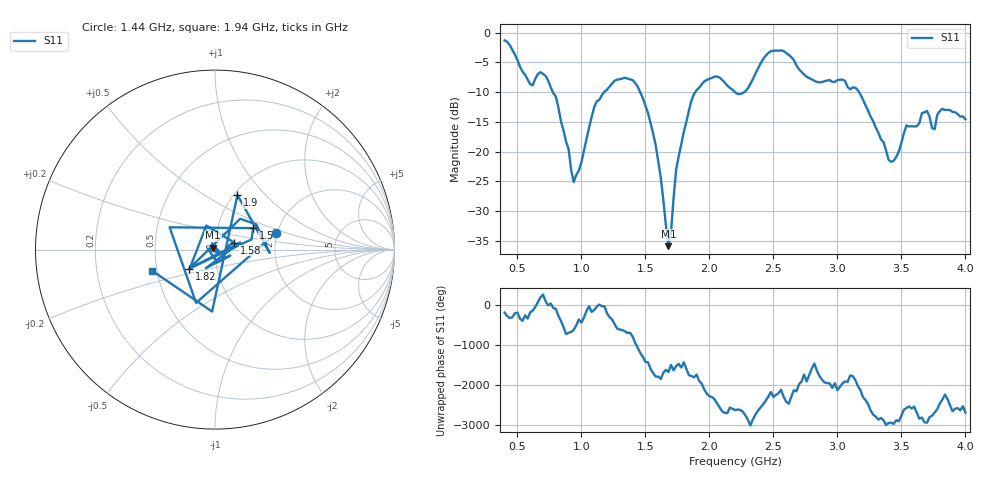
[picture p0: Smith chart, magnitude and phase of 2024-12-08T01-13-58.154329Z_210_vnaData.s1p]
!Created with skrf (http://scikit-rf.org).
# Hz S RI R 50.0
!freq ReS11 ImS11
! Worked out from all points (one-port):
!   181 points, 400 MHz to 4 GHz, reference 50 ohm
!   lowest |S11| = -35.9 dB at 1.68 GHz (marker M1), VSWR 1.03, Z = 48.9 + j1.11 ohm
!   |S11| at or under -10 dB: 776.9 MHz to 1.177 GHz (400.5 MHz wide, 41 % of centre); 1.459 GHz to 1.89 GHz (430.3 MHz wide, 25.7 % of centre); 3.169 GHz to end of sweep (the widest 3 of 4)
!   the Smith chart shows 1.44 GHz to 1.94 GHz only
!   S11 on the Smith chart (normalised r, x): 1.44 GHz: 1.97, +0.42; 1.5 GHz: 1.48, +0.38; 1.58 GHz: 1.24, +0.10; 1.82 GHz: 0.73, -0.16; 1.9 GHz: 1.04, +0.71; 1.94 GHz: 0.47, -0.13
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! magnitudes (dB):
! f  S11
! 400 MHz  -1.3
! 600 MHz  -8.7
! 720 MHz  -7.3
! 860 MHz  -16.4
! 940 MHz  -25.1
! 1.1 GHz  -12.5
! 1.3 GHz  -7.8
! 1.44 GHz  -9.1
! 1.5 GHz  -12.2
! 1.58 GHz  -18.9
! 1.68 GHz  -35.9
! 1.76 GHz  -20.8
! 1.82 GHz  -15.0
! 1.9 GHz  -9.7
! 1.94 GHz  -8.7
! 2.06 GHz  -7.4
! 2.2 GHz  -10.0
! 2.3 GHz  -9.4
! 2.48 GHz  -3.1
! 2.66 GHz  -4.6
! 3.1 GHz  -9.5
! 3.18 GHz  -10.4
! 3.42 GHz  -21.7
! 3.56 GHz  -15.8
! 3.7 GHz  -13.2
! 3.76 GHz  -16.2
! 3.82 GHz  -12.8
! 4 GHz  -14.5
